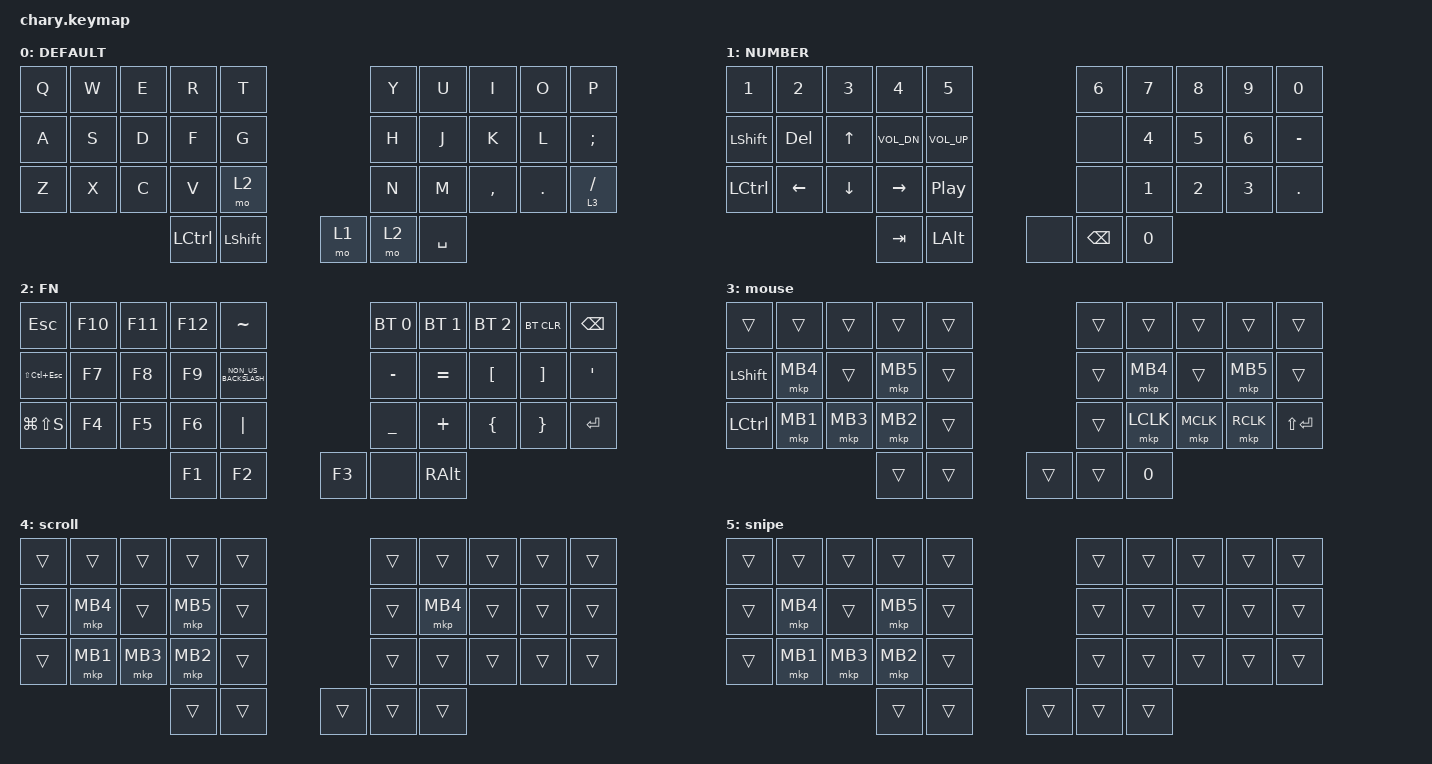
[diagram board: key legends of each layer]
#define ZMK_POINTING_DEFAULT_SCRL_VAL 2

#include <dt-bindings/zmk/mouse.h>
#include <behaviors/mouse_keys.dtsi>
#include <behaviors.dtsi>
#include <dt-bindings/zmk/bt.h>
#include <dt-bindings/zmk/keys.h>
#include <dt-bindings/zmk/pointing.h>

#define DEFAULT 0
#define NUMBER  1
#define FN  2
#define HOTKEY  3

/ {
    combos {
        compatible = "zmk,combos";

        b {
            bindings = <&kp B>;
            key-positions = <25 26>;
        };

        snipe {
            bindings = <&mo 5>;
            key-positions = <26 27>;
        };

        scroll {
            bindings = <&mo 4>;
            key-positions = <21 22>;
        };

        mouse2 {
            bindings = <&mo 3>;
            key-positions = <31 32>;
        };

        scroll2 {
            bindings = <&mo 4>;
            key-positions = <27 28>;
        };
    };

    keymap {
        compatible = "zmk,keymap";

        default_layer {
            label = "DEFAULT";
            bindings = <
&kp Q  &kp W  &kp E  &kp R             &kp T                  &kp Y  &kp U      &kp I      &kp O    &kp P
&kp A  &kp S  &kp D  &kp F             &kp G                  &kp H  &kp J      &kp K      &kp L    &kp SEMI
&kp Z  &kp X  &kp C  &kp V             &mo 2                  &kp N  &kp M      &kp COMMA  &kp DOT  &lt 3 FSLH
                     &kp LEFT_CONTROL  &kp LEFT_SHIFT  &mo 1  &mo 2  &kp SPACE
            >;
        };

        number_layer {
            label = "NUMBER";
            bindings = <
&kp NUMBER_1    &kp NUMBER_2  &kp NUMBER_3  &kp NUMBER_4  &kp N5                   &kp NUMBER_6   &kp N7        &kp N8        &kp N9        &kp N0
&kp LEFT_SHIFT  &kp DEL       &kp UP_ARROW  &kp C_VOL_DN  &kp C_VOLUME_UP          &none          &kp NUMBER_4  &kp N5        &kp NUMBER_6  &kp MINUS
&kp LCTRL       &kp LEFT      &kp DOWN      &kp RIGHT     &kp C_PLAY_PAUSE         &none          &kp NUMBER_1  &kp NUMBER_2  &kp NUMBER_3  &kp PERIOD
                                            &kp TAB       &kp LEFT_ALT      &none  &kp BACKSPACE  &kp N0
            >;
        };

        fn_layer {
            label = "FN";
            bindings = <
&kp ESCAPE          &kp F10  &kp F11  &kp F12  &kp TILDE                     &bt BT_SEL 0    &bt BT_SEL 1   &bt BT_SEL 2      &bt BT_CLR         &kp BACKSPACE
&kp LS(LC(ESCAPE))  &kp F7   &kp F8   &kp F9   &kp NON_US_BACKSLASH          &kp MINUS       &kp EQUAL      &kp LEFT_BRACKET  &kp RIGHT_BRACKET  &kp SQT
&kp LG(LS(S))       &kp F4   &kp F5   &kp F6   &kp PIPE                      &kp UNDERSCORE  &kp PLUS       &kp LEFT_BRACE    &kp RIGHT_BRACE    &kp ENTER
                                      &kp F1   &kp F2                &kp F3  &none           &kp RIGHT_ALT
            >;
        };

        mouse_layer {
            label = "mouse";
            bindings = <
&trans            &trans    &trans    &trans    &trans          &trans  &trans     &trans     &trans     &trans
&kp LEFT_SHIFT    &mkp MB4  &trans    &mkp MB5  &trans          &trans  &mkp MB4   &trans     &mkp MB5   &trans
&kp LEFT_CONTROL  &mkp MB1  &mkp MB3  &mkp MB2  &trans          &trans  &mkp LCLK  &mkp MCLK  &mkp RCLK  &kp LS(ENTER)
                                      &trans    &trans  &trans  &trans  &kp N0
            >;
        };

        scroll_layer {
            label = "scroll";
            bindings = <
&trans  &trans    &trans    &trans    &trans          &trans  &trans    &trans  &trans  &trans
&trans  &mkp MB4  &trans    &mkp MB5  &trans          &trans  &mkp MB4  &trans  &trans  &trans
&trans  &mkp MB1  &mkp MB3  &mkp MB2  &trans          &trans  &trans    &trans  &trans  &trans
                            &trans    &trans  &trans  &trans  &trans
            >;
        };

        layer_5 {
            label = "snipe";
            bindings = <
&trans  &trans    &trans    &trans    &trans          &trans  &trans  &trans  &trans  &trans
&trans  &mkp MB4  &trans    &mkp MB5  &trans          &trans  &trans  &trans  &trans  &trans
&trans  &mkp MB1  &mkp MB3  &mkp MB2  &trans          &trans  &trans  &trans  &trans  &trans
                            &trans    &trans  &trans  &trans  &trans
            >;
        };
    };
};
